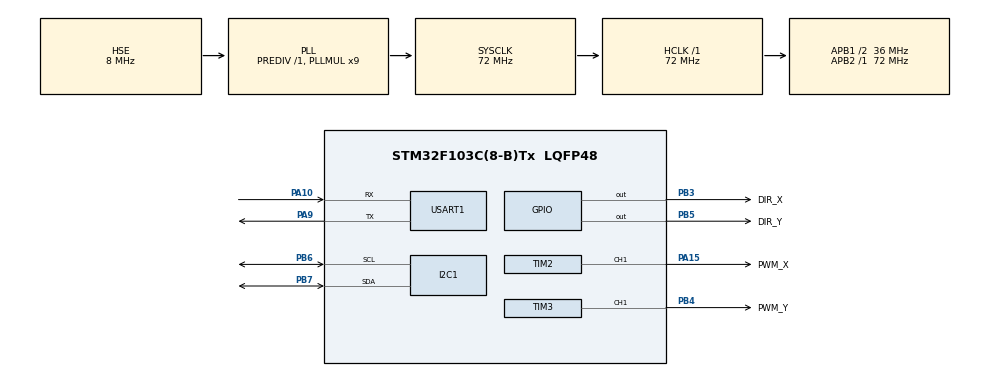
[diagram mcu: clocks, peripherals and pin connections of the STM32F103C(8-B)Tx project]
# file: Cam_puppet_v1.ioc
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I2C1.I2C_Mode=I2C_Fast
Mcu.Family=STM32F1
Mcu.Name=STM32F103C(8-B)Tx
Mcu.Package=LQFP48
NVIC.PriorityGroup=NVIC_PRIORITYGROUP_4
NVIC.TIM2_IRQn=true\:0\:0\:false\:false\:true\:true\:true
NVIC.TIM3_IRQn=true\:0\:0\:false\:false\:true\:true\:true
NVIC.TIM4_IRQn=true\:0\:0\:false\:false\:true\:true\:true
PA10.Mode=Asynchronous
PA10.Signal=USART1_RX
PA13.Mode=Serial_Wire
PA13.Signal=SYS_JTMS-SWDIO
PA14.Mode=Serial_Wire
PA14.Signal=SYS_JTCK-SWCLK
PA15.GPIO_Label=PWM_X
PA15.Signal=S_TIM2_CH1_ETR
PA9.Mode=Asynchronous
PA9.Signal=USART1_TX
PB3.GPIO_Label=DIR_X
PB3.Signal=GPIO_Output
PB4.GPIO_Label=PWM_Y
PB4.GPIO_ModeDefaultPP=GPIO_MODE_AF_PP
PB4.Signal=S_TIM3_CH1
PB5.GPIO_Label=DIR_Y
PB5.Signal=GPIO_Output
PB6.Mode=I2C
PB6.Signal=I2C1_SCL
PB7.Mode=I2C
PB7.Signal=I2C1_SDA
PD0-OSC_IN.Mode=HSE-External-Oscillator
PD0-OSC_IN.Signal=RCC_OSC_IN
PD1-OSC_OUT.Mode=HSE-External-Oscillator
PD1-OSC_OUT.Signal=RCC_OSC_OUT
ProjectManager.HeapSize=0x200
ProjectManager.StackSize=0x400
ProjectManager.TargetToolchain=STM32CubeIDE
RCC.AHBFreq_Value=72000000
RCC.APB1CLKDivider=RCC_HCLK_DIV2
RCC.APB1Freq_Value=36000000
RCC.APB1TimFreq_Value=72000000
RCC.APB2Freq_Value=72000000
RCC.APB2TimFreq_Value=72000000
RCC.HCLKFreq_Value=72000000
RCC.PLLMUL=RCC_PLL_MUL9
RCC.PLLSourceVirtual=RCC_PLLSOURCE_HSE
RCC.SYSCLKFreq_VALUE=72000000
RCC.SYSCLKSource=RCC_SYSCLKSOURCE_PLLCLK
RCC.USBFreq_Value=72000000
SH.S_TIM2_CH1_ETR.0=TIM2_CH1,PWM Generation1 CH1
SH.S_TIM3_CH1.0=TIM3_CH1,PWM Generation1 CH1
TIM2.Channel-PWM\ Generation1\ CH1=TIM_CHANNEL_1
TIM2.CounterMode=TIM_COUNTERMODE_DOWN
TIM2.Period=0xFFFF
TIM2.Pulse-PWM\ Generation1\ CH1=200
TIM3.Channel-PWM\ Generation1\ CH1=TIM_CHANNEL_1
TIM3.Period=0xFFFF
TIM3.Pulse-PWM\ Generation1\ CH1=200
TIM4.Period=10000
USART1.VirtualMode=VM_ASYNC
VP_TIM2_VS_ClockSourceINT.Mode=Internal
VP_TIM3_VS_ClockSourceINT.Mode=Internal
VP_TIM4_VS_ClockSourceINT.Mode=Internal
board=custom

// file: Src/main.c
/* USER CODE BEGIN Header */
/**
  ******************************************************************************
  * @file           : main.c
  * @brief          : Main program body
  ******************************************************************************
  * @attention
  *
  * <h2><center>&copy; Copyright (c) 2020 STMicroelectronics.
  * All rights reserved.</center></h2>
  *
  * This software component is licensed by ST under BSD 3-Clause license,
  * the "License"; You may not use this file except in compliance with the
  * License. You may obtain a copy of the License at:
  *                        opensource.org/licenses/BSD-3-Clause
  *
  ******************************************************************************
  */
/* USER CODE END Header */

#include "main.h"

/* USER CODE BEGIN Includes */
#include "Drivers/mpu6050/drv_mpu6050.h"
#include "Drivers/trace/drv_trace.h"
//#include "Drivers/stepperController/drv_stepperController.h"

/* USER CODE END Includes */

I2C_HandleTypeDef hi2c1;

TIM_HandleTypeDef htim2;
TIM_HandleTypeDef htim3;
TIM_HandleTypeDef htim4;

UART_HandleTypeDef huart1;

/* USER CODE BEGIN PV */
uint32_t STEP_TIMER_CLOCK;
uint32_t STEP_CONTROLLER_PERIOD_US;
/* USER CODE END PV */

void SystemClock_Config(void);
static void MX_GPIO_Init(void);
static void MX_I2C1_Init(void);
static void MX_USART1_UART_Init(void);
static void MX_TIM2_Init(void);
static void MX_TIM3_Init(void);
static void MX_TIM4_Init(void);

int main(void)
{
  /* USER CODE BEGIN 1 */
#if defined (TEST)
  int i =0;
  stepper_request stReq =  {'\0', CMD_GET, PARAM_ALL, 0, false};
#endif

  /* USER CODE END 1 */

  /* MCU Configuration--------------------------------------------------------*/

  /* Reset of all peripherals, Initializes the Flash interface and the Systick. */
  HAL_Init();

  /* Configure the system clock */
  SystemClock_Config();

  /* Initialize all configured peripherals */
  MX_GPIO_Init();
  MX_I2C1_Init();
  MX_USART1_UART_Init();
  MX_TIM2_Init();
  MX_TIM3_Init();
  MX_TIM4_Init();
  /* USER CODE BEGIN 2 */

  // MPU INIT //

  MPU6050_Init(&hi2c1);
  MPU6050_t MPU6050_Datas;

  // STEPPERS INIT //

  STEP_TIMER_CLOCK = HAL_RCC_GetHCLKFreq();
  STEP_CONTROLLER_PERIOD_US =  1000000U /(HAL_RCC_GetHCLKFreq() / htim4.Init.Period);

  TRACE("  CPU Clock: %d MHz StepperCtrl: %d us\r\n", STEP_TIMER_CLOCK/1000000, STEP_CONTROLLER_PERIOD_US);

#if 0
  stepper_error Status = SERR_OK;

  Status = Stepper_SetupPeripherals('L', &htim2, TIM_CHANNEL_1, DIR_X_GPIO_Port, DIR_X_Pin); // L -> "X"
  Status = Stepper_SetupPeripherals('R', &htim3, TIM_CHANNEL_1, DIR_Y_GPIO_Port, DIR_Y_Pin); // R -> "Y"
  Status = Stepper_InitDefaultState('L');
  Status = Stepper_InitDefaultState('R');
#endif
  // Enable it timers PWMs
  //__HAL_TIM_ENABLE_IT(&htim2, TIM_IT_UPDATE);
  //__HAL_TIM_ENABLE_IT(&htim3, TIM_IT_UPDATE);
  HAL_TIM_PWM_Start(&htim2, TIM_CHANNEL_1);
  //Serial_InitRxSequence();
  TRACE("Steppers Ready to be controlled \r\n");

  HAL_Delay(1);
  // This will run our StepController timer and enable interrupt for it as well
  //HAL_TIM_Base_Start_IT(&htim4);

#if 0
  Stepper_SetTargetPosition('L', 200);
  Stepper_SetTargetPosition('R', 200);

  int32_t SPT=200*16;

  int32_t POS_L=0;
  int32_t POS_R=0;

  int32_t ACC_L=0;
  int32_t SPS_L=0;

#endif
	uint32_t Ten_Ms_Count=0;
	uint32_t Seconds=0;
	uint32_t StepPerSec = 1000;
	uint32_t prescaler = 0;
	uint32_t timerTicks = 0;
  /* USER CODE END 2 */

  /* Infinite loop */
  while (1)
  {

    /* USER CODE BEGIN 3 */
	  //MPU6050_Read_All(&hi2c1, &MPU6050_Datas);
	  //TRACE("Ax = %d; Ay = %d; Az = %d; \r\n",MPU6050_Datas.Accel_X_RAW,MPU6050_Datas.Accel_Y_RAW,MPU6050_Datas.Accel_Z_RAW);

#ifdef TEST
	  POS_L=Stepper_GetCurrentPosition('L');
	  POS_R=Stepper_GetCurrentPosition('R');

	  ACC_L=Stepper_GetAccPrescaler('L');
	  SPS_L=Stepper_GetCurrentSPS('L');

	  if (Stepper_GetCurrentPosition('L') == SPT) {
		  Stepper_SetTargetPosition('L', -SPT);
		  Stepper_SetTargetPosition('R', -SPT);
	  }
	  if (Stepper_GetCurrentPosition('L') == -SPT) {
		  Stepper_SetTargetPosition('L', SPT);
		  Stepper_SetTargetPosition('R', SPT);
	  }

	  HAL_Delay(10);
#endif

		StepPerSec=10+StepPerSec;

		if(Ten_Ms_Count%10==0){
			timerTicks = STEP_TIMER_CLOCK / StepPerSec;

			if (timerTicks > 0xFFFF) {
				// calculate the minimum prescaler
				prescaler = timerTicks/0xFFFF;
				timerTicks /= (prescaler + 1);
			}

			htim2.Instance->PSC = prescaler;
			htim2.Instance->ARR = timerTicks;
		}

		Ten_Ms_Count++;

		if(Ten_Ms_Count==100){
		  Ten_Ms_Count=0;
		  Seconds++;
		  StepPerSec=1000;
		  //StepPerSec = 0;
		}

		HAL_Delay(10);
		//if(Seconds>10){
		//  HAL_TIM_PWM_Stop(&htim2, TIM_CHANNEL_1);
		//}
		//HAL_Delay(10); // Loop env 100 Hz
		//Stepper_ExecuteAllControllers();
  }
  /* USER CODE END 3 */
}

void SystemClock_Config(void)
{
  RCC_OscInitTypeDef RCC_OscInitStruct = {0};
  RCC_ClkInitTypeDef RCC_ClkInitStruct = {0};

  /** Initializes the CPU, AHB and APB busses clocks
  */
  RCC_OscInitStruct.OscillatorType = RCC_OSCILLATORTYPE_HSE;
  RCC_OscInitStruct.HSEState = RCC_HSE_ON;
  RCC_OscInitStruct.HSEPredivValue = RCC_HSE_PREDIV_DIV1;
  RCC_OscInitStruct.HSIState = RCC_HSI_ON;
  RCC_OscInitStruct.PLL.PLLState = RCC_PLL_ON;
  RCC_OscInitStruct.PLL.PLLSource = RCC_PLLSOURCE_HSE;
  RCC_OscInitStruct.PLL.PLLMUL = RCC_PLL_MUL9;
  if (HAL_RCC_OscConfig(&RCC_OscInitStruct) != HAL_OK)
  {
    Error_Handler();
  }
  /** Initializes the CPU, AHB and APB busses clocks
  */
  RCC_ClkInitStruct.ClockType = RCC_CLOCKTYPE_HCLK|RCC_CLOCKTYPE_SYSCLK
                              |RCC_CLOCKTYPE_PCLK1|RCC_CLOCKTYPE_PCLK2;
  RCC_ClkInitStruct.SYSCLKSource = RCC_SYSCLKSOURCE_PLLCLK;
  RCC_ClkInitStruct.AHBCLKDivider = RCC_SYSCLK_DIV1;
  RCC_ClkInitStruct.APB1CLKDivider = RCC_HCLK_DIV2;
  RCC_ClkInitStruct.APB2CLKDivider = RCC_HCLK_DIV1;

  if (HAL_RCC_ClockConfig(&RCC_ClkInitStruct, FLASH_LATENCY_2) != HAL_OK)
  {
    Error_Handler();
  }
}

static void MX_I2C1_Init(void)
{

  hi2c1.Instance = I2C1;
  hi2c1.Init.ClockSpeed = 400000;
  hi2c1.Init.DutyCycle = I2C_DUTYCYCLE_2;
  hi2c1.Init.OwnAddress1 = 0;
  hi2c1.Init.AddressingMode = I2C_ADDRESSINGMODE_7BIT;
  hi2c1.Init.DualAddressMode = I2C_DUALADDRESS_DISABLE;
  hi2c1.Init.OwnAddress2 = 0;
  hi2c1.Init.GeneralCallMode = I2C_GENERALCALL_DISABLE;
  hi2c1.Init.NoStretchMode = I2C_NOSTRETCH_DISABLE;
  if (HAL_I2C_Init(&hi2c1) != HAL_OK)
  {
    Error_Handler();
  }

}

static void MX_TIM2_Init(void)
{

  TIM_ClockConfigTypeDef sClockSourceConfig = {0};
  TIM_MasterConfigTypeDef sMasterConfig = {0};
  TIM_OC_InitTypeDef sConfigOC = {0};

  htim2.Instance = TIM2;
  htim2.Init.Prescaler = 0;
  htim2.Init.CounterMode = TIM_COUNTERMODE_DOWN;
  htim2.Init.Period = 0xFFFF;
  htim2.Init.ClockDivision = TIM_CLOCKDIVISION_DIV1;
  htim2.Init.AutoReloadPreload = TIM_AUTORELOAD_PRELOAD_DISABLE;
  if (HAL_TIM_Base_Init(&htim2) != HAL_OK)
  {
    Error_Handler();
  }
  sClockSourceConfig.ClockSource = TIM_CLOCKSOURCE_INTERNAL;
  if (HAL_TIM_ConfigClockSource(&htim2, &sClockSourceConfig) != HAL_OK)
  {
    Error_Handler();
  }
  if (HAL_TIM_PWM_Init(&htim2) != HAL_OK)
  {
    Error_Handler();
  }
  sMasterConfig.MasterOutputTrigger = TIM_TRGO_RESET;
  sMasterConfig.MasterSlaveMode = TIM_MASTERSLAVEMODE_DISABLE;
  if (HAL_TIMEx_MasterConfigSynchronization(&htim2, &sMasterConfig) != HAL_OK)
  {
    Error_Handler();
  }
  sConfigOC.OCMode = TIM_OCMODE_PWM1;
  sConfigOC.Pulse = 2000;
  sConfigOC.OCPolarity = TIM_OCPOLARITY_HIGH;
  sConfigOC.OCFastMode = TIM_OCFAST_DISABLE;
  if (HAL_TIM_PWM_ConfigChannel(&htim2, &sConfigOC, TIM_CHANNEL_1) != HAL_OK)
  {
    Error_Handler();
  }
  HAL_TIM_MspPostInit(&htim2);

}

static void MX_TIM3_Init(void)
{

  TIM_ClockConfigTypeDef sClockSourceConfig = {0};
  TIM_MasterConfigTypeDef sMasterConfig = {0};
  TIM_OC_InitTypeDef sConfigOC = {0};

  htim3.Instance = TIM3;
  htim3.Init.Prescaler = 0;
  htim3.Init.CounterMode = TIM_COUNTERMODE_UP;
  htim3.Init.Period = 0xFFFF;
  htim3.Init.ClockDivision = TIM_CLOCKDIVISION_DIV1;
  htim3.Init.AutoReloadPreload = TIM_AUTORELOAD_PRELOAD_DISABLE;
  if (HAL_TIM_Base_Init(&htim3) != HAL_OK)
  {
    Error_Handler();
  }
  sClockSourceConfig.ClockSource = TIM_CLOCKSOURCE_INTERNAL;
  if (HAL_TIM_ConfigClockSource(&htim3, &sClockSourceConfig) != HAL_OK)
  {
    Error_Handler();
  }
  if (HAL_TIM_PWM_Init(&htim3) != HAL_OK)
  {
    Error_Handler();
  }
  sMasterConfig.MasterOutputTrigger = TIM_TRGO_RESET;
  sMasterConfig.MasterSlaveMode = TIM_MASTERSLAVEMODE_DISABLE;
  if (HAL_TIMEx_MasterConfigSynchronization(&htim3, &sMasterConfig) != HAL_OK)
  {
    Error_Handler();
  }
  sConfigOC.OCMode = TIM_OCMODE_PWM1;
  sConfigOC.Pulse = 2000;
  sConfigOC.OCPolarity = TIM_OCPOLARITY_HIGH;
  sConfigOC.OCFastMode = TIM_OCFAST_DISABLE;
  if (HAL_TIM_PWM_ConfigChannel(&htim3, &sConfigOC, TIM_CHANNEL_1) != HAL_OK)
  {
    Error_Handler();
  }
  HAL_TIM_MspPostInit(&htim3);

}

static void MX_TIM4_Init(void)
{

  TIM_ClockConfigTypeDef sClockSourceConfig = {0};
  TIM_MasterConfigTypeDef sMasterConfig = {0};

  htim4.Instance = TIM4;
  htim4.Init.Prescaler = 0;
  htim4.Init.CounterMode = TIM_COUNTERMODE_UP;
  htim4.Init.Period = 10000 ; //10000
  htim4.Init.ClockDivision = TIM_CLOCKDIVISION_DIV1;
  htim4.Init.AutoReloadPreload = TIM_AUTORELOAD_PRELOAD_DISABLE;
  if (HAL_TIM_Base_Init(&htim4) != HAL_OK)
  {
    Error_Handler();
  }
  sClockSourceConfig.ClockSource = TIM_CLOCKSOURCE_INTERNAL;
  if (HAL_TIM_ConfigClockSource(&htim4, &sClockSourceConfig) != HAL_OK)
  {
    Error_Handler();
  }
  sMasterConfig.MasterOutputTrigger = TIM_TRGO_RESET;
  sMasterConfig.MasterSlaveMode = TIM_MASTERSLAVEMODE_DISABLE;
  if (HAL_TIMEx_MasterConfigSynchronization(&htim4, &sMasterConfig) != HAL_OK)
  {
    Error_Handler();
  }

}

static void MX_USART1_UART_Init(void)
{

  huart1.Instance = USART1;
  huart1.Init.BaudRate = 115200;
  huart1.Init.WordLength = UART_WORDLENGTH_8B;
  huart1.Init.StopBits = UART_STOPBITS_1;
  huart1.Init.Parity = UART_PARITY_NONE;
  huart1.Init.Mode = UART_MODE_TX_RX;
  huart1.Init.HwFlowCtl = UART_HWCONTROL_NONE;
  huart1.Init.OverSampling = UART_OVERSAMPLING_16;
  if (HAL_UART_Init(&huart1) != HAL_OK)
  {
    Error_Handler();
  }

}

static void MX_GPIO_Init(void)
{
  GPIO_InitTypeDef GPIO_InitStruct = {0};

  /* GPIO Ports Clock Enable */
  __HAL_RCC_GPIOD_CLK_ENABLE();
  __HAL_RCC_GPIOA_CLK_ENABLE();
  __HAL_RCC_GPIOB_CLK_ENABLE();

  /*Configure GPIO pin Output Level */
  HAL_GPIO_WritePin(GPIOB, DIR_X_Pin|DIR_Y_Pin, GPIO_PIN_RESET);

  /*Configure GPIO pins : DIR_X_Pin DIR_Y_Pin */
  GPIO_InitStruct.Pin = DIR_X_Pin|DIR_Y_Pin;
  GPIO_InitStruct.Mode = GPIO_MODE_OUTPUT_PP;
  GPIO_InitStruct.Pull = GPIO_NOPULL;
  GPIO_InitStruct.Speed = GPIO_SPEED_FREQ_LOW;
  HAL_GPIO_Init(GPIOB, &GPIO_InitStruct);

}

/* USER CODE BEGIN 4 */

#if 0
// WE USE OUR OWN INTERRUPT IMPLEMENTATIONS !!!
// Instead of the ones generated by CubeMX.
// The reason for that is that CubeMX TIM interrupt template takes a lot of CPU ticks,
// doing various unnecessary register checks.
// This results into 4x longer interrrupt handling time (500 ns vs 1.5 - 2 uS).

void TIM2_IRQHandler(void)
{
  if (__HAL_TIM_GET_FLAG(&htim2, TIM_FLAG_UPDATE))
  {
    if (__HAL_TIM_GET_ITSTATUS(&htim2, TIM_IT_UPDATE))
    {
      __HAL_TIM_CLEAR_FLAG(&htim2, TIM_FLAG_UPDATE);
      Stepper_PulseTimerUpdate('L');
    }
  }
}

void TIM3_IRQHandler(void)
{
  if (__HAL_TIM_GET_FLAG(&htim3, TIM_FLAG_UPDATE))
  {
    if (__HAL_TIM_GET_ITSTATUS(&htim3, TIM_IT_UPDATE))
    {
      __HAL_TIM_CLEAR_FLAG(&htim3, TIM_FLAG_UPDATE);
      Stepper_PulseTimerUpdate('R');
    }
  }
}

void TIM4_IRQHandler(void)
{
  if (__HAL_TIM_GET_FLAG(&htim4, TIM_FLAG_UPDATE))
  {
    if (__HAL_TIM_GET_ITSTATUS(&htim4, TIM_IT_UPDATE))
    {
      //HAL_GPIO_WritePin(GPIOA, LED_Pin, GPIO_PIN_SET);
      __HAL_TIM_CLEAR_FLAG(&htim4, TIM_FLAG_UPDATE);

      Stepper_ExecuteAllControllers();
      // Serial_CheckRxTimeout();

      //HAL_GPIO_WritePin(GPIOA, LED_Pin, GPIO_PIN_RESET);
    }
  }
}

#endif

/* USER CODE END 4 */

void Error_Handler(void)
{
}

/************************ (C) COPYRIGHT STMicroelectronics *****END OF FILE****/
